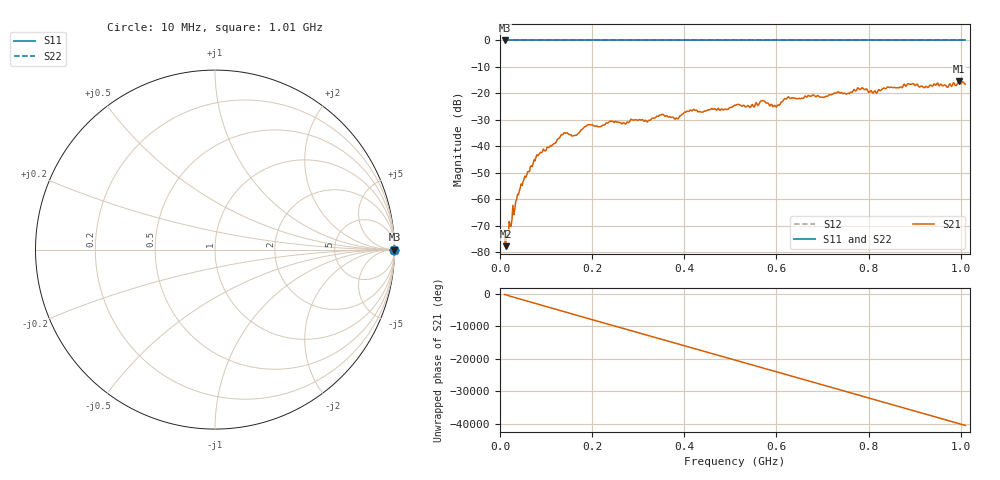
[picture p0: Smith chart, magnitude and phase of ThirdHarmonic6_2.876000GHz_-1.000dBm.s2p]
! 8/17/2025 7:52:36 AM
! C:\ANRITSUVNA\TEMP\TEMP.S2P
! CHANNEL.1
! TR.MEASUREMENT
! RAW.DATA
! RF.CORRECTION.OFF
! AVERAGING.OFF
! IF.BANDWIDTH: 5KHZ
! SWEEPTYPE:  FREQ.SWEEP(Linear)
! Reference Plane Port Info
! PORT:  PORT1  PORT2
! DISTANCE:  0  m  0  m
! TIME:  0  s  0  s
! PHASE.OFFSET:  0  deg.  0  deg.
! LOSS:  0  dB  0  dB
! REF.LOSS:  0  dB  0  dB
! REF.FREQ:  0  Hz  0  Hz
! Power Info
! POWER:  -20  dBm  -20  dBm
! EFF.POWER:  -20  dBm  -20  dBm
! SOURCE.ATTEN:  0  dB  0  dB
! TEST.ATTEN:  0  dB  0  dB
# GHZ S RI R 50.0
! FREQ.GHZ  S11RE  S11IM  S21RE  S21IM  S12RE  S12IM  S22RE  S22IM
!; PortSelection: Port_12
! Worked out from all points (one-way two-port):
!   501 points, 10 MHz to 1.01 GHz, reference 50 ohm
!   highest |S21| = -15.39 dB at 996 MHz (marker M1); lowest = -77.7 dB at 12 MHz (marker M2)
!   lowest |S11| = 0.0 dB at 10 MHz (marker M3)
!   |S11| at or under -10 dB: nowhere
!   |S22| runs from 0.0 to 0.0 dB; largest |S21 - S12| = 1.2
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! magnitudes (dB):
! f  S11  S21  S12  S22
! 10 MHz  0.0  -74.8  0.0  0.0
! 12 MHz  0.0  -77.7  0.0  0.0
! 22 MHz  0.0  -70.0  0.0  0.0
! 42 MHz  0.0  -56.9  0.0  0.0
! 78 MHz  0.0  -44.1  0.0  0.0
! 136 MHz  0.0  -35.6  0.0  0.0
! 162 MHz  0.0  -35.9  0.0  0.0
! 178 MHz  0.0  -33.6  0.0  0.0
! 344 MHz  0.0  -28.6  0.0  0.0
! 382 MHz  0.0  -29.3  0.0  0.0
! 416 MHz  0.0  -26.7  0.0  0.0
! 510 MHz  0.0  -24.5  0.0  0.0
! 548 MHz  0.0  -24.2  0.0  0.0
! 570 MHz  0.0  -22.7  0.0  0.0
! 596 MHz  0.0  -24.5  0.0  0.0
! 622 MHz  0.0  -22.1  0.0  0.0
! 678 MHz  0.0  -20.7  0.0  0.0
! 780 MHz  0.0  -18.5  0.0  0.0
! 814 MHz  0.0  -19.0  0.0  0.0
! 844 MHz  0.0  -17.7  0.0  0.0
! 996 MHz  0.0  -15.4  0.0  0.0
! 1.01 GHz  0.0  -16.5  0.0  0.0
